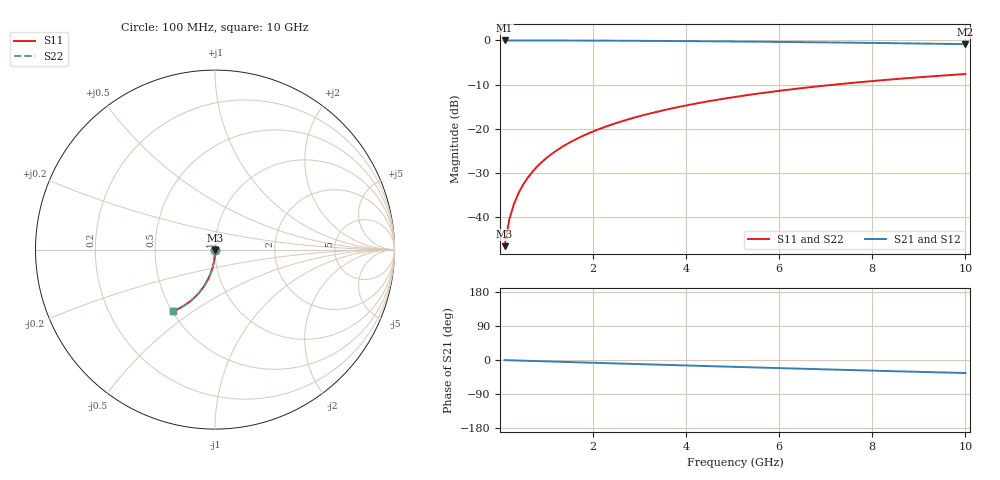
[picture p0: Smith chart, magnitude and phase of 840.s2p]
# Hz S RI R 50.00
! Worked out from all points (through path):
!   100 points, 100 MHz to 10 GHz, reference 50 ohm
!   highest |S21| = 0.00 dB at 100 MHz (marker M1); lowest = -0.8 dB at 10 GHz (marker M2)
!   group delay of S21, straight-line fit = 9.59 ps
!   lowest |S11| = -46.6 dB at 100 MHz (marker M3), VSWR 1.01, Z = 50 - j0.468 ohm
!   |S11| at or under -10 dB: start of sweep to 7.191 GHz
!   |S22| runs from -46.6 to -7.6 dB; largest |S21 - S12| = 0
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1e8  0.000305 -0.00468  0.9996 -0.00634  0.9996 -0.00634  0.000305 -0.00468
2e8  0.000212 -0.00936  0.9995 -0.0127  0.9995 -0.0127  0.000212 -0.00936
3e8  6.04e-05 -0.014  0.9994 -0.019  0.9994 -0.019  6.04e-05 -0.014
4e8  -0.000151 -0.0187  0.9991 -0.0254  0.9991 -0.0254  -0.000151 -0.0187
5e8  -0.000423 -0.0234  0.9988 -0.0317  0.9988 -0.0317  -0.000423 -0.0234
6e8  -0.000753 -0.0281  0.9985 -0.038  0.9985 -0.038  -0.000753 -0.0281
7e8  -0.00114 -0.0327  0.9981 -0.0444  0.9981 -0.0444  -0.00114 -0.0327
8e8  -0.00159 -0.0374  0.9976 -0.0507  0.9976 -0.0507  -0.00159 -0.0374
9e8  -0.0021 -0.042  0.9971 -0.057  0.9971 -0.057  -0.0021 -0.042
1.1e9  -0.00329 -0.0513  0.9958 -0.0696  0.9958 -0.0696  -0.00329 -0.0513
1.4e9  -0.00552 -0.0651  0.9935 -0.0884  0.9935 -0.0884  -0.00552 -0.0651
1.8e9  -0.00929 -0.0834  0.9895 -0.1134  0.9895 -0.1134  -0.00929 -0.0834
2.1e9  -0.0127 -0.0969  0.9859 -0.1319  0.9859 -0.1319  -0.0127 -0.0969
2.5e9  -0.0181 -0.1147  0.9803 -0.1564  0.9803 -0.1564  -0.0181 -0.1147
2.9e9  -0.0243 -0.1322  0.9738 -0.1805  0.9738 -0.1805  -0.0243 -0.1322
3.4e9  -0.0332 -0.1534  0.9644 -0.2101  0.9644 -0.2101  -0.0332 -0.1534
4.2e9  -0.0501 -0.1858  0.9467 -0.256  0.9467 -0.256  -0.0501 -0.1858
5.1e9  -0.0724 -0.2197  0.9231 -0.305  0.9231 -0.305  -0.0724 -0.2197
5.9e9  -0.095 -0.2471  0.8994 -0.346  0.8994 -0.346  -0.095 -0.2471
6.7e9  -0.1196 -0.2719  0.8733 -0.3844  0.8733 -0.3844  -0.1196 -0.2719
8.4e9  -0.1772 -0.315  0.8119 -0.4566  0.8119 -0.4566  -0.1772 -0.315
1e10  -0.2352 -0.3436  0.7495 -0.513  0.7495 -0.513  -0.2352 -0.3436
